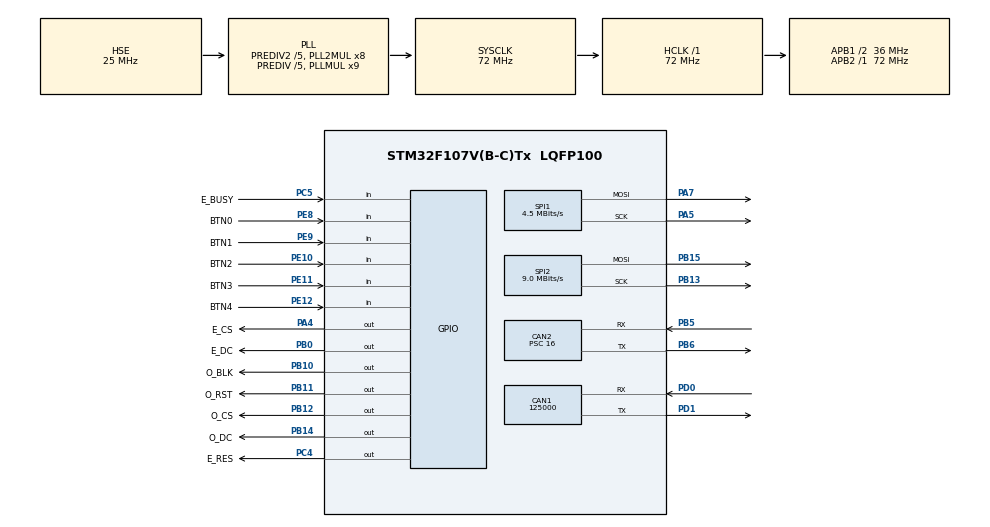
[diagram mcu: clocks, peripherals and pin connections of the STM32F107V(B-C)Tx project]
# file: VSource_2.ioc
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CAN1.ABOM=ENABLE
CAN1.AWUM=ENABLE
CAN1.BS1=CAN_BS1_15TQ
CAN1.BS2=CAN_BS2_2TQ
CAN1.CalculateBaudRate=125000
CAN1.CalculateTimeBit=8000
CAN1.CalculateTimeQuantum=444.44444444444446
CAN1.NART=ENABLE
CAN1.TXFP=ENABLE
CAN2.ABOM=ENABLE
CAN2.AWUM=ENABLE
CAN2.BS1=CAN_BS1_15TQ
CAN2.BS2=CAN_BS2_2TQ
CAN2.CalculateBaudRate=125000
CAN2.CalculateTimeBit=8000
CAN2.CalculateTimeQuantum=444.44444444444446
CAN2.NART=DISABLE
CAN2.Prescaler=16
CAN2.TXFP=ENABLE
Mcu.Family=STM32F1
Mcu.Name=STM32F107V(B-C)Tx
Mcu.Package=LQFP100
NVIC.CAN1_RX0_IRQn=true\:0\:0\:false\:false\:true\:true\:true\:true
NVIC.CAN1_TX_IRQn=true\:0\:0\:false\:false\:true\:true\:true\:true
NVIC.CAN2_RX1_IRQn=true\:0\:0\:false\:false\:true\:true\:true\:true
NVIC.CAN2_TX_IRQn=true\:0\:0\:false\:false\:true\:true\:true\:true
NVIC.PriorityGroup=NVIC_PRIORITYGROUP_4
NVIC.TIM7_IRQn=true\:0\:0\:false\:false\:true\:true\:true\:true
OSC_IN.Mode=HSE-External-Oscillator
OSC_IN.Signal=RCC_OSC_IN
OSC_OUT.Mode=HSE-External-Oscillator
OSC_OUT.Signal=RCC_OSC_OUT
PA13.Mode=Serial_Wire
PA13.Signal=SYS_JTMS-SWDIO
PA14.Mode=Serial_Wire
PA14.Signal=SYS_JTCK-SWCLK
PA4.GPIO_Label=E_CS
PA4.Signal=GPIO_Output
PA5.Mode=TX_Only_Simplex_Unidirect_Master
PA5.Signal=SPI1_SCK
PA7.Mode=TX_Only_Simplex_Unidirect_Master
PA7.Signal=SPI1_MOSI
PB0.GPIO_Label=E_DC
PB0.Signal=GPIO_Output
PB10.GPIO_Label=O_BLK
PB10.Signal=GPIO_Output
PB11.GPIO_Label=O_RST
PB11.Signal=GPIO_Output
PB12.GPIO_Label=O_CS
PB12.Signal=GPIO_Output
PB13.Mode=TX_Only_Simplex_Unidirect_Master
PB13.Signal=SPI2_SCK
PB14.GPIO_Label=O_DC
PB14.Signal=GPIO_Output
PB15.Mode=TX_Only_Simplex_Unidirect_Master
PB15.Signal=SPI2_MOSI
PB5.Mode=CAN_Activate
PB5.Signal=CAN2_RX
PB6.Mode=CAN_Activate
PB6.Signal=CAN2_TX
PC14-OSC32_IN.Mode=LSE-External-Oscillator
PC14-OSC32_IN.Signal=RCC_OSC32_IN
PC15-OSC32_OUT.Mode=LSE-External-Oscillator
PC15-OSC32_OUT.Signal=RCC_OSC32_OUT
PC4.GPIO_Label=E_RES
PC4.Signal=GPIO_Output
PC5.GPIO_Label=E_BUSY
PC5.Signal=GPIO_Input
PD0.Mode=CAN_Activate
PD0.Signal=CAN1_RX
PD1.Mode=CAN_Activate
PD1.Signal=CAN1_TX
PE10.GPIO_Label=BTN2
PE10.Signal=GPIO_Input
PE11.GPIO_Label=BTN3
PE11.Signal=GPIO_Input
PE12.GPIO_Label=BTN4
PE12.Signal=GPIO_Input
PE8.GPIO_Label=BTN0
PE8.Signal=GPIO_Input
PE9.GPIO_Label=BTN1
PE9.Signal=GPIO_Input
ProjectManager.HeapSize=0x200
ProjectManager.StackSize=0x400
ProjectManager.TargetToolchain=STM32CubeIDE
RCC.AHBFreq_Value=72000000
RCC.APB1CLKDivider=RCC_HCLK_DIV2
RCC.APB1Freq_Value=36000000
RCC.APB1TimFreq_Value=72000000
RCC.APB2Freq_Value=72000000
RCC.APB2TimFreq_Value=72000000
RCC.HCLKFreq_Value=72000000
RCC.HSEDivPLL=RCC_HSE_PREDIV_DIV5
RCC.HSE_VALUE=25000000
RCC.PLLMUL=RCC_PLL_MUL9
RCC.PLLSourceVirtual=RCC_PLLSOURCE_HSE
RCC.Prediv1Source=RCC_PREDIV1_SOURCE_PLL2
RCC.Prediv2=RCC_HSE_PREDIV2_DIV5
RCC.SYSCLKFreq_VALUE=72000000
RCC.SYSCLKSource=RCC_SYSCLKSOURCE_PLLCLK
RCC.USBFreq_Value=48000000
SPI1.BaudRatePrescaler=SPI_BAUDRATEPRESCALER_16
SPI1.CalculateBaudRate=4.5 MBits/s
SPI1.Direction=SPI_DIRECTION_2LINES
SPI1.Mode=SPI_MODE_MASTER
SPI1.VirtualType=VM_MASTER
SPI2.BaudRatePrescaler=SPI_BAUDRATEPRESCALER_4
SPI2.CalculateBaudRate=9.0 MBits/s
SPI2.Direction=SPI_DIRECTION_2LINES
SPI2.Mode=SPI_MODE_MASTER
SPI2.VirtualType=VM_MASTER
TIM7.Period=9999
TIM7.Prescaler=719
VP_TIM7_VS_ClockSourceINT.Mode=Enable_Timer
board=custom

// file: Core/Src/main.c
/* USER CODE BEGIN Header */
/**
  ******************************************************************************
  * @file           : main.c
  * @brief          : Main program body
  ******************************************************************************
  * @attention
  *
  * Copyright (c) 2026 STMicroelectronics.
  * All rights reserved.
  *
  * This software is licensed under terms that can be found in the LICENSE file
  * in the root directory of this software component.
  * If no LICENSE file comes with this software, it is provided AS-IS.
  *
  ******************************************************************************
  */
/* USER CODE END Header */
#include "main.h"
#include "can.h"
#include "spi.h"
#include "tim.h"
#include "gpio.h"

/* USER CODE BEGIN Includes */
#include "ssd1306_fonts.h"
#include <stdlib.h>
#include <stdio.h>
#include "YRD0150BBS810F0MP-M7.h"
#include "epaper_text.h"
#include "psu_control.h"
/* USER CODE END Includes */

/* USER CODE BEGIN PD */
#define Delay 70
#define SETTINGS_FLASH_ADDR  0x0803F800UL   // последняя страница Flash (page 127, 2 KB)
#define SETTINGS_MAGIC       0xA55A5AA5UL   // маркер валидных данных
/* USER CODE END PD */

/* USER CODE BEGIN PV */

// Глобальные массивы для совместимости
extern CAN_HandleTypeDef hcan1;

static uint8_t epaper_buf[ALLSCREEN_BYTES];

//Buttons
uint8_t Left;
uint8_t Right;
uint8_t Middle;
uint8_t Top;
uint8_t Bottom;

uint8_t previous_Left;
uint8_t previous_Right;
uint8_t previous_Middle;
uint8_t previous_Top;
uint8_t previous_Bottom;

//Parametr's
uint8_t Something_Changed = 1;
uint8_t Add_Number = 1;
uint8_t Button_Speed = 0;
static uint32_t last_volt_up = 0, last_volt_dn = 0;
static uint32_t last_curr_up = 0, last_curr_dn = 0;
static uint32_t last_onoff_tick = 0;
uint8_t Selected = 0;
uint8_t String_Number = 1;
uint8_t Screen = 2;
uint8_t ON_OFF = 1;// Off = 1 On = 2
uint16_t Set_Current = 5;
uint16_t Set_Voltage = 200;
uint16_t Current = 0;
uint16_t Voltage = 0;
char buffer[12];
/* USER CODE END PV */

void SystemClock_Config(void);
/* USER CODE BEGIN PFP */
static uint8_t compute_mode_code(uint8_t addr);
static void Settings_Load(void);
static void Settings_Save(void);
/* USER CODE END PFP */

/* USER CODE BEGIN 0 */

void ReadButtons(void)
{
	Bottom = HAL_GPIO_ReadPin(BTN0_GPIO_Port, BTN0_Pin);
	Top = HAL_GPIO_ReadPin(BTN1_GPIO_Port, BTN1_Pin);
	Middle = HAL_GPIO_ReadPin(BTN2_GPIO_Port, BTN2_Pin);
	Right = HAL_GPIO_ReadPin(BTN3_GPIO_Port, BTN3_Pin);
	Left = HAL_GPIO_ReadPin(BTN4_GPIO_Port, BTN4_Pin);
	/* В режиме редактирования Left/Right тоже регулируют значение (level-triggered),
	 * поэтому ранний выход и сброс скорости должны учитывать их состояние. */
	uint8_t editing = (Selected == 1 && Screen == 2);
	if (Top == 1 && Bottom == 1 && (!editing || (Left == 1 && Right == 1))) {
		Button_Speed = 0;
		Add_Number = 1;
		last_volt_up = 0; last_volt_dn = 0;
		last_curr_up = 0; last_curr_dn = 0;
	}
	uint8_t prev_top    = previous_Top;
	uint8_t prev_bottom = previous_Bottom;
	if ((Right == previous_Right && Left == previous_Left && Middle == previous_Middle)
	    && (Top == 1 && Bottom == 1)
	    && (!editing || (Left == 1 && Right == 1))) {
		previous_Top = Top; previous_Bottom = Bottom;
		return;
	}
	previous_Left = Left;
	previous_Middle = Middle;
	previous_Right = Right;

	if (Top == 0 || Bottom == 0 || (editing && (Left == 0 || Right == 0)))
	{
		Button_Speed++;
		if (Button_Speed > 37) Add_Number = 96;
	}

	if (Middle == 0) {
		Selected++;
		Button_Speed = 0;
		Add_Number = 1;
		HAL_Delay(Delay);
	}

	if (Selected == 1 && Screen == 1) {
		uint32_t now_oo = HAL_GetTick();
		if (last_onoff_tick == 0 || (now_oo - last_onoff_tick) >= 5000u) {
			ON_OFF++;
			last_onoff_tick = now_oo ? now_oo : 1u;
		}
		Selected = 0;
	}
	if (Selected == 1 && Screen == 2)
	{
		// Ограничение скорости через время, а не HAL_Delay — чтобы не блокировать цикл
		// и не зависеть от скорости накопления Button_Speed.
		// fast = удержание >15 итераций (~750 мс при цикле ~50 мс).
		uint32_t now  = HAL_GetTick();
		uint8_t  fast = (Button_Speed > 37);

		if (String_Number == 1)
		{
			// При первом тике быстрого режима — выравниваем до ближайшего кратного 10
			// в сторону движения, чтобы дальше шло 390-400-410, а не 387-397-407.
			if (Button_Speed == 38) {
				if (Bottom == 0 || Left == 0)
					Set_Voltage = (Set_Voltage / 10u) * 10u;           // вниз: 387→380
				else if (Top == 0 || Right == 0)
					Set_Voltage = ((Set_Voltage + 9u) / 10u) * 10u;    // вверх: 387→390
				last_volt_up = now;
				last_volt_dn = now;
			}
			// Короткое: 1В/70 мс; долгое: 10В/100 мс
			uint32_t iv = fast ? 100u : 70u;
			uint16_t sv = fast ? 10u  : 1u;
			if ((Bottom == 0 || Left  == 0) && (now - last_volt_dn) >= iv) { Set_Voltage -= sv; last_volt_dn = now; }
			if ((Top   == 0 || Right == 0) && (now - last_volt_up) >= iv) { Set_Voltage += sv; last_volt_up = now; }
		}
		if (String_Number == 2)
		{
			// Короткое: 1А/200 мс (~5 А/с); долгое: 1А/50 мс (~20 А/с)
			uint32_t ic = fast ? 50u : 200u;
			if ((Bottom == 0 || Left  == 0) && (now - last_curr_dn) >= ic) { Set_Current--; last_curr_dn = now; }
			if ((Top   == 0 || Right == 0) && (now - last_curr_up) >= ic) { Set_Current++; last_curr_up = now; }
		}
	}
	else{
		if (Bottom == 0 && prev_bottom == 1) { String_Number--; HAL_Delay(Delay); }
		if (Top    == 0 && prev_top    == 1) { String_Number++; HAL_Delay(Delay); }
		if (Right == 0){
			Screen++;
			HAL_Delay(Delay);
		}
		if (Left == 0){
			Screen--;
			HAL_Delay(Delay);
		}
	}

	if (Selected > 1) Selected = 0;
	if (String_Number > 2) String_Number = 1;
	if (String_Number < 1) String_Number = 2;
	if (Screen > 2) Screen = 1;
	if (Screen < 1) Screen = 2;
	if (ON_OFF > 2) ON_OFF = 1;
	if (ON_OFF < 1) ON_OFF = 2;

	if (Set_Voltage >1000) Set_Voltage = 1000;
	if (Set_Voltage < 200) Set_Voltage = 200;
	if (Set_Current >150) Set_Current = 150;
	if (Set_Current < 10) Set_Current = 10;
	/*if (Set_Current < 20 && String_Number == 2) {
		Button_Speed = 0;
		Add_Number = 1;
	}*/
	{
	    uint16_t i_max = (uint16_t)(50000u / Set_Voltage);
	    if (Set_Current > i_max) Set_Current = i_max;
	}
	previous_Bottom = Bottom;
	previous_Top = Top;
}

void ShowScreen(void){
	if (Screen == 1){
		ssd1306_Fill(Black);
		ssd1306_SetCursor(16, 5);
		// Фактическое состояние: хотя бы один онлайн-модуль с активным выходом
		uint8_t actual_on = 0;
		for (uint8_t _i = 0; _i < PSU_ActiveCount; _i++) {
			uint8_t _a = PSU_ActiveAddrs[_i];
			if (PSU_State[_a].online && PSU_State[_a].mode == 1) { actual_on = 1; break; }
		}
		if (actual_on)
			ssd1306_WriteStringUTF8(">СTOп", White);
		else
			ssd1306_WriteStringUTF8(">Пуck", White);//Пуck

		ssd1306_SetCursor(5, 44);
		snprintf(buffer, sizeof(buffer), "U=%dВ", Voltage);
		ssd1306_WriteStringUTF8(buffer, White);
		ssd1306_SetCursor(5, 77);
		snprintf(buffer, sizeof(buffer), "I=%dA", Current);
		ssd1306_WriteStringUTF8(buffer, White);

		// Рамка вокруг параметра, в который уперлись: CV (01) → напряжение, CC (02) → ток
		uint8_t _any_cv = 0, _any_cc = 0;
		for (uint8_t _mi = 0; _mi < PSU_ActiveCount; _mi++) {
			uint8_t _mc = compute_mode_code(PSU_ActiveAddrs[_mi]);
			if (_mc == 1) _any_cv = 1;
			if (_mc == 2) _any_cc = 1;
		}
		if (_any_cv) ssd1306_DrawRectangle(0, 42, 127, 70, White);
		if (_any_cc) ssd1306_DrawRectangle(0, 75, 127, 103, White);

		// Заданные значения мелким шрифтом в рамке внизу, одной строкой: напр. "250B 20A"
		ssd1306_DrawRectangle(0, 105, 127, 127, White);
		snprintf(buffer, sizeof(buffer), "%dB %dA", Set_Voltage, Set_Current);
		ssd1306_SetCursor(8, 107);
		ssd1306_WriteString11x18(buffer, White);

		ssd1306_UpdateScreen();
	}
	else{
		ssd1306_Fill(Black);
		ssd1306_SetCursor(0, 5);
		ssd1306_WriteStringUTF8("ВВОД", White);
		ssd1306_SetCursor(0, 33);
		ssd1306_WriteStringUTF8("ЗНАЧЕНИЙ", White);
		ssd1306_Line(0, 94, 128, 94, White);
		ssd1306_DrawRectangle(0, 60, 127, 127, White);

		if (String_Number == 1 && Selected == 0)
		{
			ssd1306_SetCursor(5, 67);
			snprintf(buffer, sizeof(buffer), ">\x01=%dВ ", Set_Voltage);
			ssd1306_WriteStringUTF8(buffer, White);
			ssd1306_SetCursor(5, 100);
			snprintf(buffer, sizeof(buffer), " \x02=%dA ", Set_Current);
			ssd1306_WriteStringUTF8(buffer, White);
			ssd1306_UpdateScreen();
		}

		if (String_Number == 2 && Selected == 0)
		{
			ssd1306_SetCursor(5, 67);
			snprintf(buffer, sizeof(buffer), " \x01=%dВ ", Set_Voltage);
			ssd1306_WriteStringUTF8(buffer, White);
			ssd1306_SetCursor(5, 100);
			snprintf(buffer, sizeof(buffer), ">\x02=%dA ", Set_Current);
			ssd1306_WriteStringUTF8(buffer, White);
			ssd1306_UpdateScreen();
		}

		if (String_Number == 1 && Selected == 1)
		{
			ssd1306_SetCursor(5, 67);
			snprintf(buffer, sizeof(buffer), " \x01=%dВ ", Set_Voltage);
			ssd1306_WriteStringUTF8(buffer, Black);
			ssd1306_SetCursor(5, 100);
			snprintf(buffer, sizeof(buffer), " \x02=%dA ", Set_Current);
			ssd1306_WriteStringUTF8(buffer, White);
			ssd1306_UpdateScreen();
		}

		if (String_Number == 2 && Selected == 1)
		{
			ssd1306_SetCursor(5, 67);
			snprintf(buffer, sizeof(buffer), " \x01=%dВ ", Set_Voltage);
			ssd1306_WriteStringUTF8(buffer, White);
			ssd1306_SetCursor(5, 98);
			snprintf(buffer, sizeof(buffer), " \x02=%dA ", Set_Current);
			ssd1306_WriteStringUTF8(buffer, Black);
			ssd1306_UpdateScreen();
		}
	}
}

/*void HAL_TIM_PeriodElapsedCallback(TIM_HandleTypeDef *htim)
{
    if (htim->Instance == TIM7)
    {
    	Something_Changed = 1;
    }
}*/

/* Возвращает код из истории событий модуля addr.
 * slot 0 = новейший, slot 2 = старейший. 0 = пустой слот. */
static uint8_t decode_slot(uint8_t addr, uint8_t slot) {
    if (slot >= 3) slot = 2;
    return PSU_State[addr].history.codes[slot];
}

/* Вычисляет текущий рабочий код (01–03) для активного модуля.
 * Возвращает 0 если модуль не в активном состоянии или режим не определён.
 * Используем уставку на модуль (Set_Voltage / PSU_ActiveCount): каждый модуль
 * выдаёт свою долю напряжения, поэтому сравнение с полной уставкой неверно. */
static uint8_t compute_mode_code(uint8_t addr) {
    if (!PSU_State[addr].online || PSU_State[addr].mode == 0) return 0;
    uint16_t v    = PSU_State[addr].outputVoltage;
    int16_t  i    = PSU_State[addr].outputCurrent;
    uint32_t p    = PSU_State[addr].outputPower;
    uint16_t i_sp = (PSU_ActiveCount > 0u) ? (Set_Current / PSU_ActiveCount) : Set_Current;
    uint16_t v_sp = Set_Voltage;  /* модули параллельные: каждый выдаёт полное уставочное напряжение */
    if (p >= 25000u) return 3;
    if (v >= (uint16_t)(v_sp > 10u ? v_sp - 10u : 0u) &&
        i  <  (int16_t)(i_sp > 1u ? i_sp - 1u : 0)) return 1;
    if (i >= (int16_t)(i_sp > 1u ? i_sp - 1u : 0) &&
        v  <  (uint16_t)(v_sp > 10u ? v_sp - 10u : 0u)) return 2;
    return 0;
}

static void Settings_Load(void) {
    uint32_t magic = *(volatile uint32_t*)SETTINGS_FLASH_ADDR;
    if (magic != SETTINGS_MAGIC) return;
    uint32_t vc = *(volatile uint32_t*)(SETTINGS_FLASH_ADDR + 4);
    uint16_t v = (uint16_t)(vc & 0xFFFFu);
    uint16_t c = (uint16_t)(vc >> 16);
    if (v >= 200u && v <= 1000u && c >= 10u && c <= 150u) {
        Set_Voltage = v;
        Set_Current = c;
    }
}

static void Settings_Save(void) {
    FLASH_EraseInitTypeDef erase = {0};
    uint32_t pageError = 0;
    HAL_FLASH_Unlock();
    erase.TypeErase   = FLASH_TYPEERASE_PAGES;
    erase.PageAddress = SETTINGS_FLASH_ADDR;
    erase.NbPages     = 1;
    HAL_FLASHEx_Erase(&erase, &pageError);
    HAL_FLASH_Program(FLASH_TYPEPROGRAM_WORD, SETTINGS_FLASH_ADDR, SETTINGS_MAGIC);
    uint32_t vc = ((uint32_t)Set_Current << 16) | Set_Voltage;
    HAL_FLASH_Program(FLASH_TYPEPROGRAM_WORD, SETTINGS_FLASH_ADDR + 4, vc);
    HAL_FLASH_Lock();
}

static void DrawEpaperStatusTable(void) {
    char str[4];
    epaper_clear_buffer(epaper_buf);

    /* Дисплей повёрнут 90°: x = вертикаль для наблюдателя, y = горизонталь.
     * Экран 200×200.
     *
     * Viewer y: 0..99 = левая половина (модуль I), 100..199 = правая (модуль II).
     * Viewer x (сверху вниз):
     *   x=8        → заголовки "I" / "II"
     *   x=46..47   → горизонтальная разделительная линия
     *   x=52       → слот 0
     *   x=90       → слот 1
     *   x=128      → слот 2
     *
     * Вертикальная линия: y=99..100 (вся высота).
     *
     * scale=4 → символ 32×32px.
     * Центрирование в 100px половинке:
     *   1 символ (32px) → отступ (100-32)/2 = 34
     *   2 символа (64px) → отступ (100-64)/2 = 18
     */
    const uint8_t  scale  = 4;
    const uint16_t cs     = 8u * scale;    // 32 px

    const uint16_t x_hdr  = 8;
    const uint16_t x_hlin = x_hdr + cs + 6u;   // 46
    const uint16_t x_s0   = x_hlin + 6u;        // 52
    const uint16_t x_s1   = x_s0  + cs + 6u;   // 90
    const uint16_t x_s2   = x_s1  + cs + 6u;   // 128

    // y_start, центрированный в левой/правой половине для 1- и 2-символьных строк
    const uint16_t y_hdr0  = (100u - 1u * cs) / 2u;         // "I"  → 34
    const uint16_t y_hdr1  = 100u + (100u - 2u * cs) / 2u;  // "II" → 118
    const uint16_t y_cod0  = (100u - 2u * cs) / 2u;         // "XX" → 18
    const uint16_t y_cod1  = 100u + (100u - 2u * cs) / 2u;  // "XX" → 118

    // ── Вертикальная линия по центру дисплея (y=99, 100) ──────────────────
    for (uint16_t xi = 0; xi < 200u; xi++) {
        epaper_set_pixel(epaper_buf, xi, 99u,  0);
        epaper_set_pixel(epaper_buf, xi, 100u, 0);
    }

    // ── Горизонтальная линия под заголовками (x=x_hlin, x_hlin+1) ─────────
    for (uint16_t yi = 0; yi < 200u; yi++) {
        epaper_set_pixel(epaper_buf, x_hlin,     yi, 0);
        epaper_set_pixel(epaper_buf, x_hlin + 1u, yi, 0);
    }

    // ── Заголовки ──────────────────────────────────────────────────────────
    epaper_draw_string(epaper_buf, x_hdr, y_hdr0, "I",  font8x8_basic, scale);
    epaper_draw_string(epaper_buf, x_hdr, y_hdr1, "II", font8x8_basic, scale);

    // ── 3 строки статусов: фиксированные позиции ──────────────────────────
    // слот 0 → колонка 0 (новейший), слот 1 → колонка 1, слот 2 → колонка 2.
    // Позиции не сдвигаются; пустой слот оставляет пустое место.
    const uint16_t x_rows[3] = {x_s0, x_s1, x_s2};

    for (uint8_t slot = 0; slot < 3; slot++) {
        uint8_t c0 = decode_slot(0, slot);
        /* 0xFF = пустой слот; 0x00 = событие «норма». */
        if (c0 != 0xFF) {
            snprintf(str, sizeof(str), "%02u", (unsigned)c0);
            epaper_draw_string(epaper_buf, x_rows[slot], y_cod0, str, font8x8_basic, scale);
        }

        uint8_t c1 = decode_slot(1, slot);
        if (c1 != 0xFF) {
            snprintf(str, sizeof(str), "%02u", (unsigned)c1);
            epaper_draw_string(epaper_buf, x_rows[slot], y_cod1, str, font8x8_basic, scale);
        }
    }
}

static void ShowEpaper(void) {
    if (Selected == 1 && Screen == 2) return;

    static bool     initialized      = false;
    static uint8_t  cached_codes[2][3];
    static bool     cached_online[2];

    uint8_t codes[2][3];
    bool    online[2] = {PSU_State[0].online, PSU_State[1].online};

    for (uint8_t m = 0; m < 2; m++) {
        for (uint8_t slot = 0; slot < 3; slot++) {
            codes[m][slot] = decode_slot(m, slot);
        }
    }

    bool changed = !initialized;
    for (uint8_t m = 0; m < 2 && !changed; m++) {
        if (online[m] != cached_online[m]) changed = true;
        for (uint8_t s = 0; s < 3 && !changed; s++)
            if (codes[m][s] != cached_codes[m][s]) changed = true;
    }

    if (!changed) return;

    for (uint8_t m = 0; m < 2; m++) {
        cached_online[m] = online[m];
        for (uint8_t s = 0; s < 3; s++)
            cached_codes[m][s] = codes[m][s];
    }

    DrawEpaperStatusTable();

    if (!initialized) {
        Display_image_new(epaper_buf);        // первый раз — полное обновление
        initialized = true;
    } else {
        Display_image_new_partial_update(epaper_buf);  // далее — частичное
    }
}

/* USER CODE END 0 */

int main(void)
{

  /* MCU Configuration--------------------------------------------------------*/

  /* Reset of all peripherals, Initializes the Flash interface and the Systick. */
  HAL_Init();

  /* Configure the system clock */
  SystemClock_Config();

  /* Initialize all configured peripherals */
  MX_GPIO_Init();
  MX_CAN1_Init();
  MX_CAN2_Init();
  MX_SPI1_Init();
  MX_SPI2_Init();
  MX_TIM7_Init();
  /* USER CODE BEGIN 2 */
  HAL_CAN_Start(&hcan1);
  HAL_TIM_Base_Start_IT(&htim7);
  PSU_Init();
  PSU_CAN2_BridgeInit();
  // 1. Сканируем адреса модулей
  //PSU_ScanAndStoreAddresses();
  ssd1306_Init();
  ssd1306_Rotate0();
  ssd1306_UpdateScreen();

  EpaperIO_Init();
  Epaper_SetBusyCallback(ReadButtons);
  Settings_Load();

  /* USER CODE END 2 */

  /* Infinite loop */
  /* USER CODE BEGIN WHILE */
  uint8_t  prev_on_off        = ON_OFF;
  uint16_t committed_voltage  = Set_Voltage;
  uint16_t committed_current  = Set_Current;
  uint16_t saved_voltage      = Set_Voltage;   // последнее сохранённое в Flash
  uint16_t saved_current      = Set_Current;
  while (1)
  {
	  ReadButtons();

	  // Фиксируем уставки только когда пользователь отпустил все кнопки регулировки.
	  // Во время удержания в модуль идут прежние (закоммиченные) значения.
	  uint8_t adjusting = (Selected == 1 && Screen == 2);
	  if (!adjusting) {
		  committed_voltage = Set_Voltage;
		  committed_current = Set_Current;
		  // Сохраняем в Flash если значения изменились
		  if (committed_voltage != saved_voltage || committed_current != saved_current) {
			  Settings_Save();
			  saved_voltage = committed_voltage;
			  saved_current = committed_current;
		  }
	  }

	  // Переключение OFF→ON: сбрасываем fault-флаги всех модулей (ручной рестарт оператором).
	  if (prev_on_off != ON_OFF && ON_OFF == 2) {
		  for (uint8_t _fi = 0; _fi < PSU_ActiveCount; _fi++)
			  PSU_ClearFault(PSU_ActiveAddrs[_fi]);
	  }
	  prev_on_off = ON_OFF;

	  PSU_UpdateAll(committed_voltage, committed_current, (ON_OFF == 2) ? 1 : 0);
	  PSU_Loop();

	  /* Пушим рабочие коды (00–03): только когда модуль в сети */
	  for (uint8_t _m = 0; _m < PSU_ActiveCount; _m++) {
		  uint8_t addr = PSU_ActiveAddrs[_m];
		  if (!PSU_State[addr].online) continue;  /* offline → код 04 уже пушнул PSU_Loop, 00 не добавляем */
		  PSU_PushStatusCode(addr, compute_mode_code(addr));
	  }

	  ShowEpaper();

	  if (PSU_ActiveCount == 0) {
		  HAL_Delay(10);
		  continue;
	  }

	  if (Something_Changed) {
		  Something_Changed = 0;
	  }
	  for (uint8_t i = 0; i < PSU_ActiveCount; i++) {
		  if (PSU_State[PSU_ActiveAddrs[i]].forceApply)
			  PSU_State[PSU_ActiveAddrs[i]].forceApply = false;
	  }

	  Voltage = PSU_TotalVoltage;
	  Current = PSU_TotalCurrent / 1000;
	  ShowScreen();

    /* USER CODE END WHILE */

  }
}

void SystemClock_Config(void)
{
  RCC_OscInitTypeDef RCC_OscInitStruct = {0};
  RCC_ClkInitTypeDef RCC_ClkInitStruct = {0};

  /** Initializes the RCC Oscillators according to the specified parameters
  * in the RCC_OscInitTypeDef structure.
  */
  RCC_OscInitStruct.OscillatorType = RCC_OSCILLATORTYPE_HSE;
  RCC_OscInitStruct.HSEState = RCC_HSE_ON;
  RCC_OscInitStruct.HSEPredivValue = RCC_HSE_PREDIV_DIV5;
  RCC_OscInitStruct.HSIState = RCC_HSI_ON;
  RCC_OscInitStruct.Prediv1Source = RCC_PREDIV1_SOURCE_PLL2;
  RCC_OscInitStruct.PLL.PLLState = RCC_PLL_ON;
  RCC_OscInitStruct.PLL.PLLSource = RCC_PLLSOURCE_HSE;
  RCC_OscInitStruct.PLL.PLLMUL = RCC_PLL_MUL9;
  RCC_OscInitStruct.PLL2.PLL2State = RCC_PLL2_ON;
  RCC_OscInitStruct.PLL2.PLL2MUL = RCC_PLL2_MUL8;
  RCC_OscInitStruct.PLL2.HSEPrediv2Value = RCC_HSE_PREDIV2_DIV5;
  if (HAL_RCC_OscConfig(&RCC_OscInitStruct) != HAL_OK)
  {
    Error_Handler();
  }

  /** Initializes the CPU, AHB and APB buses clocks
  */
  RCC_ClkInitStruct.ClockType = RCC_CLOCKTYPE_HCLK|RCC_CLOCKTYPE_SYSCLK
                              |RCC_CLOCKTYPE_PCLK1|RCC_CLOCKTYPE_PCLK2;
  RCC_ClkInitStruct.SYSCLKSource = RCC_SYSCLKSOURCE_PLLCLK;
  RCC_ClkInitStruct.AHBCLKDivider = RCC_SYSCLK_DIV1;
  RCC_ClkInitStruct.APB1CLKDivider = RCC_HCLK_DIV2;
  RCC_ClkInitStruct.APB2CLKDivider = RCC_HCLK_DIV1;

  if (HAL_RCC_ClockConfig(&RCC_ClkInitStruct, FLASH_LATENCY_2) != HAL_OK)
  {
    Error_Handler();
  }

  /** Configure the Systick interrupt time
  */
  __HAL_RCC_PLLI2S_ENABLE();
}

void Error_Handler(void)
{
  __disable_irq();
  while (1)
  {
  }
}
